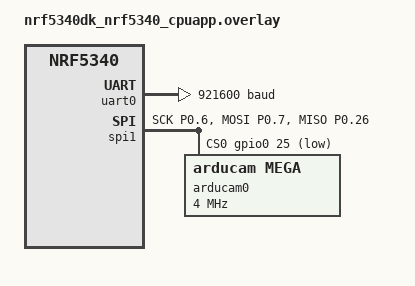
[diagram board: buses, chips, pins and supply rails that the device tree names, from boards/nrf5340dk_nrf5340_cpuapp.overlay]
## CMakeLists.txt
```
cmake_minimum_required(VERSION 3.20.0)
# Add before find_package(Zephyr ...)
list(APPEND ZEPHYR_EXTRA_MODULES C:/ncs/v2.7.0/modules/arducam2)  # Replace with your exact path; use forward slashes for CMake compatibility
find_package(Zephyr REQUIRED HINTS $ENV{ZEPHYR_BASE})
project(arducam_mega)
# -------------------------
# Suppress macro expansion notes
# -------------------------
add_compile_options(
    -fno-diagnostics-show-note-include-stack
    -fno-diagnostics-show-caret
    -fno-diagnostics-show-option
)
FILE(GLOB app_sources src/*.c)
target_sources(app PRIVATE ${app_sources})
target_include_directories(app PRIVATE include)
```

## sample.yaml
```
sample:
  name: Arducam Mega Full Featured

common:
  sysbuild: true
  build_only: true
  skip: false
  platform_exclude:
    - native_sim

tests:
  drivers.video.arducam_nord.build:
    tags:
      - video
      - camera
      - drivers
      - sysbuild

    platform_allow:
      - nrf5340dk_nrf5340/cpuapp

    integration_platforms:
      - nrf5340dk_nrf5340/cpuapp

    extra_args:
      - CONF_FILE=boards/nrf5340dk_nrf5340_cpuapp.conf
      - DTC_OVERLAY_FILE=boards/nrf5340_nrf5340_cpuapp.overlay
```

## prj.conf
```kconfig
CONFIG_WIFI=y
CONFIG_WIFI_NRF700X=y
CONFIG_WPA_SUPP=y

CONFIG_NET_MGMT=y
CONFIG_NET_MGMT_EVENT=y
CONFIG_NET_MGMT_EVENT_INFO=y
CONFIG_NET_MGMT_EVENT_STACK_SIZE=4096
CONFIG_NET_CONNECTION_MANAGER=y
CONFIG_WIFI_MGMT_EXT=y

CONFIG_WIFI_CREDENTIALS=y
CONFIG_WIFI_CREDENTIALS_STATIC=y
CONFIG_WIFI_CREDENTIALS_STATIC_SSID="<your_network_SSID>"
CONFIG_WIFI_CREDENTIALS_STATIC_PASSWORD="<your_network_password>"

CONFIG_LOG=y
CONFIG_LOG_DEFAULT_LEVEL=3
CONFIG_SPI=y
CONFIG_SERIAL=y
CONFIG_UART_CONSOLE=y
CONFIG_CONSOLE=y
CONFIG_VIDEO_INIT_PRIORITY=72
CONFIG_VIDEO_BUFFER_POOL_SZ_MAX=2048
CONFIG_VIDEO_BUFFER_POOL_NUM_MAX=3
CONFIG_VIDEO=y
CONFIG_VIDEO_ARDUCAM_MEGA=y

CONFIG_UART_ASYNC_API=y
CONFIG_UART_INTERRUPT_DRIVEN=y

# DK library
CONFIG_DK_LIBRARY=y

# System settings
CONFIG_NEWLIB_LIBC=y
CONFIG_NEWLIB_LIBC_NANO=n

# Networking
CONFIG_NETWORKING=y
CONFIG_NET_NATIVE=y
CONFIG_NET_SOCKETS=y
CONFIG_NET_L2_ETHERNET=y
CONFIG_NET_IPV6=n
CONFIG_NET_IPV4=y
CONFIG_NET_DHCPV4=y

# Memory
CONFIG_SYSTEM_WORKQUEUE_STACK_SIZE=4096
CONFIG_MAIN_STACK_SIZE=4096
CONFIG_HEAP_MEM_POOL_SIZE=153600
```

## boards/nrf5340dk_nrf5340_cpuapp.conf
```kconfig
# nrf5340dk_nrf5340_cpuapp_ns.conf for ArduCAM Mega
#CONFIG_TFM_SECURE_UART=n
#CONFIG_TFM_LOG_LEVEL_SILENCE=y

CONFIG_SERIAL=y
CONFIG_UART_CONSOLE=y
CONFIG_CONSOLE=y

CONFIG_SPI=y
CONFIG_VIDEO=y
CONFIG_VIDEO_ARDUCAM_MEGA=y
```

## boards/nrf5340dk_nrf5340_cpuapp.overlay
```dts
&i2c0 {	status = "disabled";};
&spi0 {	status = "disabled";};
&i2c1 {	status = "disabled";};

&uart0 {
    status = "okay";   /* console / logging */
    current-speed = <921600>;
};
	
&spi1 {
    compatible = "nordic,nrf-spim";
	status = "okay";
	pinctrl-0 = <&spi1_default>;
	pinctrl-1 = <&spi1_sleep>;
	pinctrl-names = "default", "sleep";
	   cs-gpios = <&gpio0 25 GPIO_ACTIVE_LOW>;

 arducam0: arducam@0 {
        compatible = "arducam,mega";
        reg = <0>;
        spi-max-frequency = <4000000>;
        status = "okay";
    
     
};
};
&pinctrl {
	spi1_default: spi1_default {
		group1 {
				psels = <NRF_PSEL(SPIM_SCK, 0, 6)>,
						<NRF_PSEL(SPIM_MOSI, 0, 7)>,
						<NRF_PSEL(SPIM_MISO, 0, 26)>;
		};
	};

	spi1_sleep: spi1_sleep {
		group1 {
				psels = <NRF_PSEL(SPIM_SCK, 0, 6)>,
						<NRF_PSEL(SPIM_MOSI, 0, 7)>,
						<NRF_PSEL(SPIM_MISO, 0, 26)>;
				low-power-enable;
		};
	};
};
/ {
    chosen {
        zephyr,wifi = &nrf7002;
    };
};

&nrf7002 {
    compatible = "nordic,nrf7002";
    label = "NRF_WIFI";
    spi-max-frequency = <8000000>;
    spi = <&spi1>;
    reset-gpios = <&gpio0 24 GPIO_ACTIVE_LOW>;
    wake-gpios = <&gpio0 25 GPIO_ACTIVE_HIGH>;
    irq-gpios = <&gpio0 26 GPIO_ACTIVE_HIGH>;
};
```

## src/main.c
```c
/**
 * Copyright (c) 2023 Arducam Technology Co., Ltd. <www.arducam.com>
 *
 * SPDX-License-Identifier: Apache-2.0
 */

#include <zephyr/device.h>
#include <zephyr/kernel.h>
#include <dk_buttons_and_leds.h>
#include <drivers/video.h>
#include <drivers/video/arducam_mega.h>

#include <zephyr/drivers/uart.h>
#include <zephyr/net/wifi.h>
#include <zephyr/net/wifi_mgmt.h>
#include <zephyr/net/net_mgmt.h>
#include <net/wifi_mgmt_ext.h>
#define LOG_LEVEL CONFIG_LOG_DEFAULT_LEVEL
#include <zephyr/logging/log.h>
LOG_MODULE_REGISTER(main);
#define EVENT_MASK (NET_EVENT_L4_CONNECTED | NET_EVENT_L4_DISCONNECTED)
#define RESET_CAMERA             0XFF
#define SET_PICTURE_RESOLUTION   0X01
#define SET_VIDEO_RESOLUTION     0X02
#define SET_BRIGHTNESS           0X03
#define SET_CONTRAST             0X04
#define SET_SATURATION           0X05
#define SET_EV                   0X06
#define SET_WHITEBALANCE         0X07
#define SET_SPECIAL_EFFECTS      0X08
#define SET_FOCUS_ENABLE         0X09
#define SET_EXPOSURE_GAIN_ENABLE 0X0A
#define SET_WHITE_BALANCE_ENABLE 0X0C
#define SET_MANUAL_GAIN          0X0D
#define SET_MANUAL_EXPOSURE      0X0E
#define GET_CAMERA_INFO          0X0F
#define TAKE_PICTURE             0X10
#define SET_SHARPNESS            0X11
#define DEBUG_WRITE_REGISTER     0X12
#define STOP_STREAM              0X21
#define GET_FRM_VER_INFO         0X30
#define GET_SDK_VER_INFO         0X40
#define SET_IMAGE_QUALITY        0X50
#define SET_LOWPOWER_MODE        0X60

#define MSG_SIZE 12

#define NUM_BUFFERS 3
#define MAX_SPI_BURST 4096
#define DMA_BUF_SIZE  (MAX_SPI_BURST + 8)
static struct net_mgmt_event_callback mgmt_cb;
static bool connected;
static K_SEM_DEFINE(run_app, 0, 1);
/* DMA-safe buffers for video frames */
static uint8_t dma_bufs[NUM_BUFFERS][DMA_BUF_SIZE] __aligned(4)
                         __attribute__((section(".dma")));

/* Video buffer structs */
struct video_buffer video_buffers[NUM_BUFFERS];
/* queue to store up to 10 messages (aligned to 4-byte boundary) */
K_MSGQ_DEFINE(uart_msgq, MSG_SIZE, 10, 4);

const struct device *console;
const struct device *video;
struct video_buffer *vbuf;

volatile uint8_t preview_on;
volatile uint8_t capture_flag;
static void net_mgmt_event_handler(struct net_mgmt_event_callback *cb,
                                   uint32_t mgmt_event, struct net_if *iface)
{
    if ((mgmt_event & EVENT_MASK) != mgmt_event) {
        return;
    }

    if (mgmt_event == NET_EVENT_L4_CONNECTED) {
        LOG_INF("Wi-Fi connected");
        connected = true;
        dk_set_led_on(DK_LED1);
        k_sem_give(&run_app);  // unblock main thread -> camera can start now
    } else if (mgmt_event == NET_EVENT_L4_DISCONNECTED) {
        connected = false;
        dk_set_led_off(DK_LED1);
        LOG_INF("Wi-Fi disconnected");
    }
}

/* STEP 7 - Define the function to populate the Wi-Fi credential parameters */
static int wifi_args_to_params(struct wifi_connect_req_params *params)
{

	/* STEP 7.1 Populate the SSID and password */
	params->ssid = CONFIG_WIFI_CREDENTIALS_STATIC_SSID;
	params->ssid_length = strlen(params->ssid);

	params->psk = CONFIG_WIFI_CREDENTIALS_STATIC_PASSWORD;
	params->psk_length = strlen(params->psk);

	/* STEP 7.2 - Populate the rest of the relevant members */
	params->channel = WIFI_CHANNEL_ANY;
	params->security = WIFI_SECURITY_TYPE_PSK;
	params->mfp = WIFI_MFP_OPTIONAL;
	params->timeout = SYS_FOREVER_MS;
	params->band = WIFI_FREQ_BAND_UNKNOWN;
	memset(params->bssid, 0, sizeof(params->bssid));
	return 0;
}
void serial_cb(const struct device *dev, void *user_data);

const uint32_t pixel_format_table[] = {
	VIDEO_PIX_FMT_JPEG,
	VIDEO_PIX_FMT_RGB565,
	VIDEO_PIX_FMT_YUYV,
};

const uint16_t resolution_table[][2] = {
	{160, 120},  {320, 240},   {640, 480},   {800, 600},   {1280, 720},
	{1280, 960}, {1600, 1200}, {1920, 1080}, {2048, 1536}, {2592, 1944},
	{96, 96},    {128, 128},   {320, 320},
};

const uint8_t resolution_num = sizeof(resolution_table) / 4;

static uint8_t current_resolution;
static uint8_t take_picture_fmt = 0x1a;

int set_mega_resolution(uint8_t sfmt)
{
	uint8_t resolution = sfmt & 0x0f;
	uint8_t pixelformat = (sfmt & 0x70) >> 4;

	if (resolution > resolution_num || pixelformat > 3) {
		return -1;
	}
	struct video_format fmt = {.width = resolution_table[resolution][0],
				   .height = resolution_table[resolution][1],
				   .pixelformat = pixel_format_table[pixelformat - 1]};
	current_resolution = resolution;
	return video_set_format(video, VIDEO_EP_OUT, &fmt);
}

void uart_buffer_send(const struct device *dev, uint8_t *buffer, uint32_t length)
{
	for (uint32_t i = 0; i < length; i++) {
		uart_poll_out(dev, buffer[i]);
	}
}

static uint8_t head_and_tail[] = {0xff, 0xaa, 0x00, 0xff, 0xbb};

void uart_packet_send(uint8_t type, uint8_t *buffer, uint32_t length)
{
	head_and_tail[2] = type;
	uart_buffer_send(console, &head_and_tail[0], 3);
	uart_buffer_send(console, (uint8_t *)&length, 4);
	uart_buffer_send(console, buffer, length);
	uart_buffer_send(console, &head_and_tail[3], 2);
}

int take_picture(void)
{
	int err;
	enum video_frame_fragmented_status f_status;

	err = video_dequeue(video, VIDEO_EP_OUT, &vbuf, K_FOREVER);
	if (err) {
		LOG_ERR("Unable to dequeue video buf");
		return -1;
	}

	f_status = vbuf->flags;

	head_and_tail[2] = 0x01;
	uart_buffer_send(console, &head_and_tail[0], 3);
	uart_buffer_send(console, (uint8_t *)&vbuf->bytesframe, 4);
	uart_poll_out(console, ((current_resolution & 0x0f) << 4) | 0x01);

	uart_buffer_send(console, vbuf->buffer, vbuf->bytesused);

	video_enqueue(video, VIDEO_EP_OUT, vbuf);
	while (f_status == VIDEO_BUF_FRAG) {
		video_dequeue(video, VIDEO_EP_OUT, &vbuf, K_FOREVER);
		f_status = vbuf->flags;
		uart_buffer_send(console, vbuf->buffer, vbuf->bytesused);
		video_enqueue(video, VIDEO_EP_OUT, vbuf);
	}
	uart_buffer_send(console, &head_and_tail[3], 2);

	return 0;
}

void video_preview(void)
{
	int err;
	enum video_frame_fragmented_status f_status;

	if (!preview_on) {
		return;
	}

	err = video_dequeue(video, VIDEO_EP_OUT, &vbuf, K_FOREVER);
	if (err) {
		LOG_ERR("Unable to dequeue video buf");
		return;
	}

	f_status = vbuf->flags;

	if (capture_flag == 1) {
		capture_flag = 0;
		head_and_tail[2] = 0x01;
		uart_buffer_send(console, &head_and_tail[0], 3);
		uart_buffer_send(console, (uint8_t *)&vbuf->bytesframe, 4);
		uart_poll_out(console, ((current_resolution & 0x0f) << 4) | 0x01);
	}

	uart_buffer_send(console, vbuf->buffer, vbuf->bytesused);

	if (f_status == VIDEO_BUF_EOF) {
		uart_buffer_send(console, &head_and_tail[3], 2);
		capture_flag = 1;
	}

	err = video_enqueue(video, VIDEO_EP_OUT, vbuf);
	if (err) {
		LOG_ERR("Unable to requeue video buf");
		return;
	}
}

int report_mega_info(void)
{
	char str_buf[400];
	uint32_t str_len;
	char *mega_type;
	struct arducam_mega_info mega_info;

	video_get_ctrl(video, VIDEO_CID_ARDUCAM_INFO, &mega_info);

	switch (mega_info.camera_id) {
	case ARDUCAM_SENSOR_3MP_1:
	case ARDUCAM_SENSOR_3MP_2:
		mega_type = "3MP";
		break;
	case ARDUCAM_SENSOR_5MP_1:
		mega_type = "5MP";
		break;
	case ARDUCAM_SENSOR_5MP_2:
		mega_type = "5MP_2";
		break;
	default:
		return -ENODEV;
	}

	sprintf(str_buf,
		"ReportCameraInfo\r\nCamera Type:%s\r\n"
		"Camera Support Resolution:%d\r\nCamera Support "
		"special effects:%d\r\nCamera Support Focus:%d\r\n"
		"Camera Exposure Value Max:%ld\r\nCamera Exposure Value "
		"Min:%d\r\nCamera Gain Value Max:%d\r\nCamera Gain Value "
		"Min:%d\r\nCamera Support Sharpness:%d\r\n",
		mega_type, mega_info.support_resolution, mega_info.support_special_effects,
		mega_info.enable_focus, mega_info.exposure_value_max, mega_info.exposure_value_min,
		mega_info.gain_value_max, mega_info.gain_value_min, mega_info.enable_sharpness);
	str_len = strlen(str_buf);
	uart_packet_send(0x02, str_buf, str_len);
	return 0;
}

uint8_t recv_process(uint8_t *buff)
{
	switch (buff[0]) {
	case SET_PICTURE_RESOLUTION:
		if (set_mega_resolution(buff[1]) == 0) {
			take_picture_fmt = buff[1];
		}
		break;
	case SET_VIDEO_RESOLUTION:
		if (preview_on == 0) {
			set_mega_resolution(buff[1] | 0x10);
			video_stream_start(video);
			capture_flag = 1;
		}
		preview_on = 1;
		break;
	case SET_BRIGHTNESS:
		video_set_ctrl(video, VIDEO_CID_CAMERA_BRIGHTNESS, &buff[1]);
		break;
	case SET_CONTRAST:
		video_set_ctrl(video, VIDEO_CID_CAMERA_CONTRAST, &buff[1]);
		break;
	case SET_SATURATION:
		video_set_ctrl(video, VIDEO_CID_CAMERA_SATURATION, &buff[1]);
		break;
	case SET_EV:
		video_set_ctrl(video, VIDEO_CID_ARDUCAM_EV, &buff[1]);
		break;
	case SET_WHITEBALANCE:
		video_set_ctrl(video, VIDEO_CID_CAMERA_WHITE_BAL, &buff[1]);
		break;
	case SET_SPECIAL_EFFECTS:
		video_set_ctrl(video, VIDEO_CID_ARDUCAM_COLOR_FX, &buff[1]);
		break;
	case SET_EXPOSURE_GAIN_ENABLE:
		video_set_ctrl(video, VIDEO_CID_CAMERA_EXPOSURE_AUTO, &buff[1]);
		video_set_ctrl(video, VIDEO_CID_CAMERA_GAIN_AUTO, &buff[1]);
	case SET_WHITE_BALANCE_ENABLE:
		video_set_ctrl(video, VIDEO_CID_CAMERA_WHITE_BAL_AUTO, &buff[1]);
		break;
	case SET_SHARPNESS:
		video_set_ctrl(video, VIDEO_CID_ARDUCAM_SHARPNESS, &buff[1]);
		break;
	case SET_MANUAL_GAIN:
		uint16_t gain_value = (buff[1] << 8) | buff[2];

		video_set_ctrl(video, VIDEO_CID_CAMERA_GAIN, &gain_value);
		break;
	case SET_MANUAL_EXPOSURE:
		uint32_t exposure_value = (buff[1] << 16) | (buff[2] << 8) | buff[3];

		video_set_ctrl(video, VIDEO_CID_CAMERA_EXPOSURE, &exposure_value);
		break;
	case GET_CAMERA_INFO:
		report_mega_info();
		break;
	case TAKE_PICTURE:
		video_stream_start(video);
		take_picture();
		video_stream_stop(video);
		break;
	case STOP_STREAM:
		if (preview_on) {
			uart_buffer_send(console, &head_and_tail[3], 2);
			video_stream_stop(video);
			set_mega_resolution(take_picture_fmt);
		}
		preview_on = 0;
		break;
	case RESET_CAMERA:
		video_set_ctrl(video, VIDEO_CID_ARDUCAM_RESET, NULL);
		break;
	case SET_IMAGE_QUALITY:
		video_set_ctrl(video, VIDEO_CID_JPEG_COMPRESSION_QUALITY, &buff[1]);
		break;
	case SET_LOWPOWER_MODE:
		video_set_ctrl(video, VIDEO_CID_ARDUCAM_LOWPOWER, &buff[1]);
		break;
	default:
		break;
	}

	return buff[0];
}

uint8_t uart_available(uint8_t *p)
{
	return k_msgq_get(&uart_msgq, p, K_NO_WAIT);
}

int main(void)
{

/* STEP 8.1 - Declare the variable for the network configuration parameters */
	struct wifi_connect_req_params cnx_params;

	/* STEP 8.2 - Get the network interface */
	struct net_if *iface = net_if_get_first_wifi();
	if (iface == NULL) {
		LOG_ERR("Returned network interface is NULL");
		return -1;
	}

	if (dk_leds_init() != 0) {
		LOG_ERR("Failed to initialize the LED library");
	}

	/* Sleep to allow initialization of Wi-Fi driver */
	k_sleep(K_SECONDS(1));

	/* STEP 9 - Initialize and add the callback function for network events */
	net_mgmt_init_event_callback(&mgmt_cb, net_mgmt_event_handler, EVENT_MASK);
	net_mgmt_add_event_callback(&mgmt_cb);

	/* STEP 10 - Populate cnx_params with the network configuration */
	wifi_args_to_params(&cnx_params);

	/* STEP 11 - Call net_mgmt() to request the Wi-Fi connection */
	LOG_INF("Connecting to Wi-Fi");
	int err = net_mgmt(NET_REQUEST_WIFI_CONNECT, iface, &cnx_params, sizeof(struct wifi_connect_req_params));
	if (err) {
		LOG_ERR("Connecting to Wi-Fi failed, err: %d", err);
		return ENOEXEC;
	}

	 // **BLOCK here until Wi-Fi is connected**
    k_sem_take(&run_app, K_FOREVER);

	uint8_t recv_buffer[12] = {0};
	struct video_buffer *buffers[3];
	int i = 0;

	console = DEVICE_DT_GET(DT_CHOSEN(zephyr_console));
	if (!device_is_ready(console)) {
		LOG_ERR("%s: device not ready.", console->name);
		return -1;
	}
	uart_irq_callback_user_data_set(console, serial_cb, NULL);
	uart_irq_rx_enable(console);

	video = DEVICE_DT_GET(DT_NODELABEL(arducam0));

	if (!device_is_ready(video)) {
		LOG_ERR("Video device %s not ready.", video->name);
		return -1;
	}

 /* Initialize video buffers and enqueue */
    for (i = 0; i < NUM_BUFFERS; i++) {
        video_buffers[i].buffer  = dma_bufs[i];
        video_buffers[i].size =  DMA_BUF_SIZE;
        video_enqueue(video, VIDEO_EP_OUT, &video_buffers[i]);
    }

	LOG_INF("Mega star");

	printk("- Device name: %s\n", video->name);

	while (1) {
		if (!uart_available(recv_buffer)) {
			recv_process(recv_buffer);
		}
		video_preview();
		k_msleep(1);
	}
	return 0;
}

/* receive buffer used in UART ISR callback */
static char rx_buf[MSG_SIZE];
static int rx_buf_pos;

/*
 * Read characters from UART until line end is detected. Afterwards push the
 * data to the message queue.
 */
void serial_cb(const struct device *dev, void *user_data)
{
	uint8_t c;

	if (!uart_irq_update(dev)) {
		return;
	}

	if (!uart_irq_rx_ready(dev)) {
		return;
	}

	/* read until FIFO empty */
	while (uart_fifo_read(dev, &c, 1) == 1) {
		if (c == 0xAA && rx_buf_pos > 0) {
			k_msgq_put(&uart_msgq, &rx_buf, K_NO_WAIT);
			rx_buf_pos = 0;
		} else if (c == 0x55) {
			rx_buf_pos = 0;
		} else {
			rx_buf[rx_buf_pos] = c;
			if (++rx_buf_pos >= MSG_SIZE) {
				rx_buf_pos = 0;
			}
		}
	}
}
```
